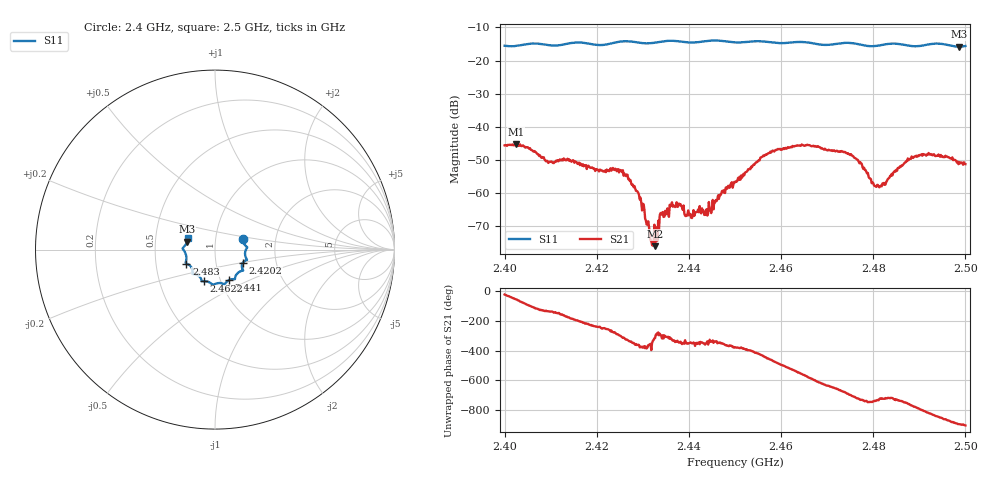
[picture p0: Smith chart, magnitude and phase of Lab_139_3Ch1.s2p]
# Hz S RI R 50
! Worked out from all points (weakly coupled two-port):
!   601 points, 2.4 GHz to 2.5 GHz, reference 50 ohm
!   highest |S21| = -45.24 dB at 2.4025 GHz (marker M1); lowest = -75.9 dB at 2.4327 GHz (marker M2)
!   lowest |S11| = -15.8 dB at 2.4987 GHz (marker M3), VSWR 1.39, Z = 36.4 + j3.32 ohm
!   |S11| at or under -10 dB: start of sweep to end of sweep
!   S12 and S22 are empty: the file has one direction only
!   S11 on the Smith chart (normalised r, x): 2.4 GHz: 1.36, +0.17; 2.4202 GHz: 1.35, -0.20; 2.441 GHz: 1.09, -0.39; 2.4622 GHz: 0.83, -0.30; 2.483 GHz: 0.72, -0.12; 2.5 GHz: 0.73, +0.10
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2.4e9  0.1562 0.06  0.00494 -0.00186  0 0  0 0
2.4025e9  0.1633 0.0308  0.00328 -0.00438  0 0  0 0
2.416667e9  0.1774 -0.0581  -0.00243 0.00116  0 0  0 0
2.420167e9  0.1558 -0.0719  -0.00119 0.00193  0 0  0 0
2.426833e9  0.1564 -0.1168  0.00141 0.000817  0 0  0 0
2.429833e9  0.1356 -0.1237  0.00054 -0.00011  0 0  0 0
2.431833e9  0.1189 -0.1395  0.000156 -0.000113  0 0  0 0
2.432667e9  0.1146 -0.1469  0.00011 0.000116  0 0  0 0
2.433333e9  0.1129 -0.1525  4.52e-05 0.000383  0 0  0 0
2.436333e9  0.1103 -0.1651  0.000613 0.000397  0 0  0 0
2.441e9  0.0766 -0.1706  0.000535 0.000154  0 0  0 0
2.45e9  0.0264 -0.1861  0.0014 -0.000398  0 0  0 0
2.456e9  -0.0139 -0.1941  0.00109 -0.0034  0 0  0 0
2.462167e9  -0.0634 -0.1762  -0.00479 -0.00144  0 0  0 0
2.466667e9  -0.0762 -0.1668  -0.00335 0.00387  0 0  0 0
2.475167e9  -0.1259 -0.1342  0.00364 0.00133  0 0  0 0
2.480667e9  -0.1415 -0.0876  0.0012 -0.000352  0 0  0 0
2.483e9  -0.1592 -0.0781  0.00155 -2.01e-05  0 0  0 0
2.483333e9  -0.1606 -0.0774  0.00168 6.46e-05  0 0  0 0
2.4905e9  -0.1665 -0.0157  0.000752 -0.0038  0 0  0 0
2.498667e9  -0.1558 0.0445  -0.00293 -0.000211  0 0  0 0
2.5e9  -0.153 0.0634  -0.00274 0.000188  0 0  0 0
